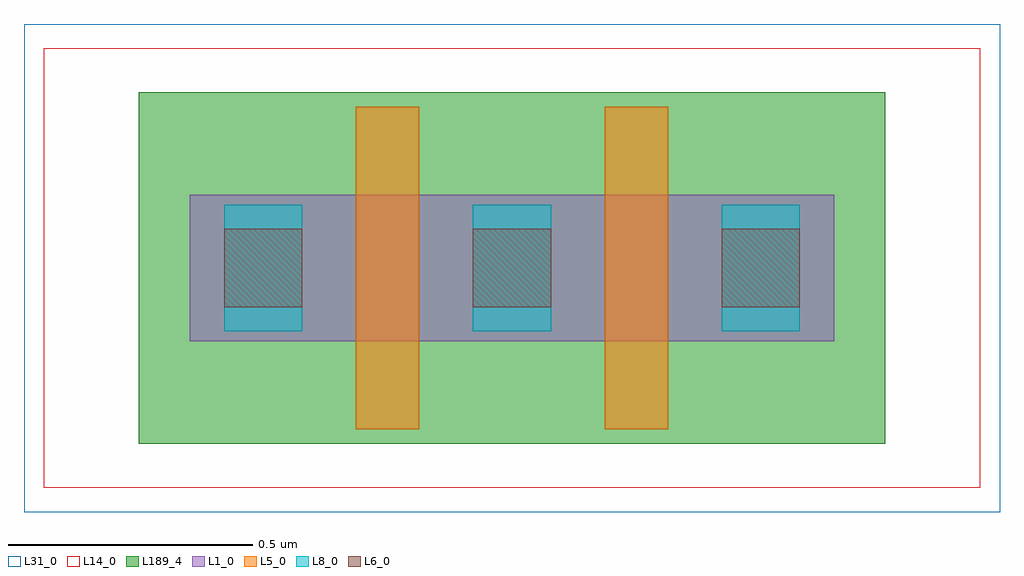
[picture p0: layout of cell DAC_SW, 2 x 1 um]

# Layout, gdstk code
import gdstk
lib = gdstk.Library(unit=1e-6, precision=1e-09)
def R(c, l, rs):  # rectangles x0, y0, x1, y1
    for r in rs: c.add(gdstk.rectangle(r[:2], r[2:], *l))
def A(c, l, x, y, w, h, nx, ny, dx, dy):  # array of equal rectangles
    R(c, l, [(x+i*dx, y+j*dy, x+i*dx+w, y+j*dy+h) for i in range(nx) for j in range(ny)])
L1_0 = (1, 0)
L5_0 = (5, 0)
L6_0 = (6, 0)
L8_0 = (8, 0)
L14_0 = (14, 0)
L31_0 = (31, 0)
L189_4 = (189, 4)

dac_sw = lib.new_cell('DAC_SW')
R(dac_sw, L1_0, [(-0.66,-0.15,0.66,0.15)])
R(dac_sw, L5_0, [(-0.32,-0.33,-0.19,0.33), (0.19,-0.33,0.32,0.33)])
A(dac_sw, L6_0, -0.59, -0.08, 0.16, 0.16, 3, 1, 0.51, 0)
A(dac_sw, L8_0, -0.59, -0.13, 0.16, 0.26, 3, 1, 0.51, 0)
R(dac_sw, L14_0, [(-0.96,-0.45,0.96,0.45)])
R(dac_sw, L31_0, [(-1,-0.5,1,0.5)])
R(dac_sw, L189_4, [(-0.765,-0.36,0.765,0.36)])

lib.write_gds('DAC_SW.gds')
